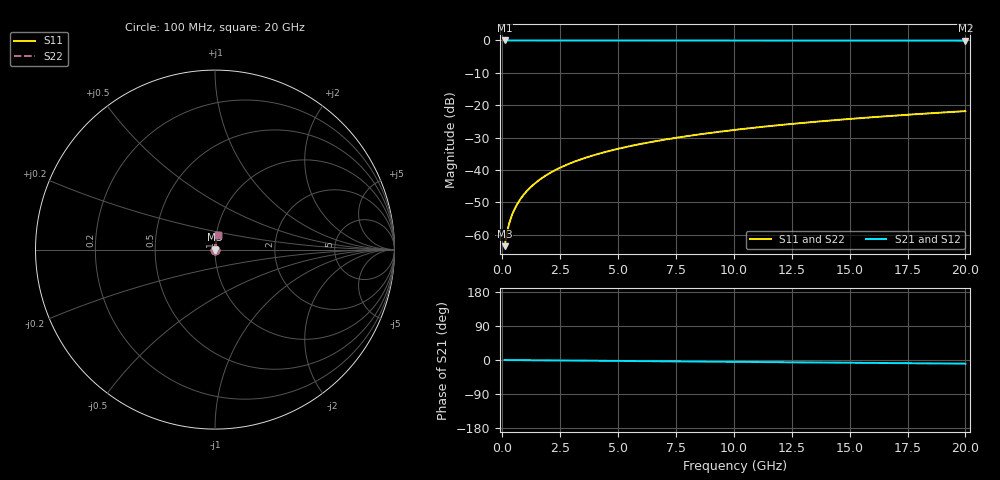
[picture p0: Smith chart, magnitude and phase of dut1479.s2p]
! Touchstone file exported from HFSS 2026.1.0
!  File:  C:/ffzhzh/LocalFiles/Ansys_Project_Files/temp_train_TMRDL_1479_1783167645_43440.aedt
!  Generated:  08:21:53 PM Jul  4, 2026
!  Design:  TMRDL
!  Project:  temp_train_TMRDL_1479_1783167645_43440
! Variables:
!  h_bsmrdl = 2um
!  h_ox = 20um
!  h_rdl = 5um
!  h_sub = 80um
!  h_tmrdl = 5.97um
!  h_tsv = 80um
!  h_via = 3um
!  l_bsmrdl = 300um
!  l_sub = 522.37um
!  l_tmrdl = 122.37um
!  m_sub = 200um
!  pitch = 43.21um
!  r_tsv = 6um
!  s_tmrdl = 10um
!  w_bsmrdl = 18um
!  w_sub = 500um
!  w_tmrdl = 22.8um
!  x_tsv_center1 = 133.77um
!  x_tsv_center2 = 451.77um
!  x_tsv_center3 = 596.94um
!  x_tsv_center4 = 914.94um
!  x_tsv_center5 = 1060.11um
!  x_tsv_center6 = 1378.11um
# GHz S MA R 50.000000
! Terminal data exported
! Port[1] = TM_RDL1_1_T1
! Port[2] = TM_RDL1_1_T2
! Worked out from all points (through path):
!   200 points, 100 MHz to 20 GHz, reference 50 ohm
!   highest |S21| = 0.00 dB at 100 MHz (marker M1); lowest = -0.1 dB at 20 GHz (marker M2)
!   group delay of S21, straight-line fit = 1.33 ps
!   lowest |S11| = -63.5 dB at 100 MHz (marker M3), VSWR 1.00, Z = 50 + j0.0485 ohm
!   |S11| at or under -10 dB: start of sweep to end of sweep
!   |S22| runs from -63.5 to -21.8 dB; largest |S21 - S12| = 2.4e-15
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0.1  0.0006652 46.8  0.9995 -0.1  0.9995 -0.1  0.0006652 46.8
! Gamma 0 0 0 0
! Port Impedance 50 0 50 0
0.2  0.001073 63.0  0.9995 -0.1  0.9995 -0.1  0.001073 63.0
0.3  0.001503 69.5  0.9995 -0.2  0.9995 -0.2  0.001503 69.5
0.4  0.001931 73.0  0.9994 -0.2  0.9994 -0.2  0.001931 73.0
0.5  0.002355 75.4  0.9994 -0.3  0.9994 -0.3  0.002355 75.4
0.7  0.0032 78.3  0.9994 -0.4  0.9994 -0.4  0.0032 78.3
0.8  0.003622 79.3  0.9993 -0.4  0.9993 -0.4  0.003622 79.3
1  0.004469 80.8  0.9993 -0.5  0.9993 -0.5  0.004469 80.8
1.2  0.005319 81.8  0.9993 -0.6  0.9993 -0.6  0.005319 81.8
1.4  0.006169 82.5  0.9992 -0.7  0.9992 -0.7  0.006169 82.5
1.7  0.007446 83.2  0.9992 -0.8  0.9992 -0.8  0.007446 83.2
2  0.00872 83.6  0.9991 -1.0  0.9991 -1.0  0.00872 83.6
2.7  0.01168 84.0  0.999 -1.3  0.999 -1.3  0.01168 84.0
3.5  0.01503 84.1  0.9988 -1.7  0.9988 -1.7  0.01503 84.1
4.2  0.01793 84.0  0.9986 -2.1  0.9986 -2.1  0.01793 84.0
5  0.02122 83.9  0.9984 -2.5  0.9984 -2.5  0.02122 83.9
6.8  0.02853 83.4  0.998 -3.3  0.998 -3.3  0.02853 83.4
8.3  0.03458 82.9  0.9976 -4.0  0.9976 -4.0  0.03458 82.9
10.1  0.0418 82.3  0.9971 -4.9  0.9971 -4.9  0.0418 82.3
13.4  0.05497 81.1  0.9962 -6.5  0.9962 -6.5  0.05497 81.1
16.7  0.06804 79.8  0.9951 -8.0  0.9951 -8.0  0.06804 79.8
20  0.08098 78.4  0.9938 -9.6  0.9938 -9.6  0.08098 78.4
